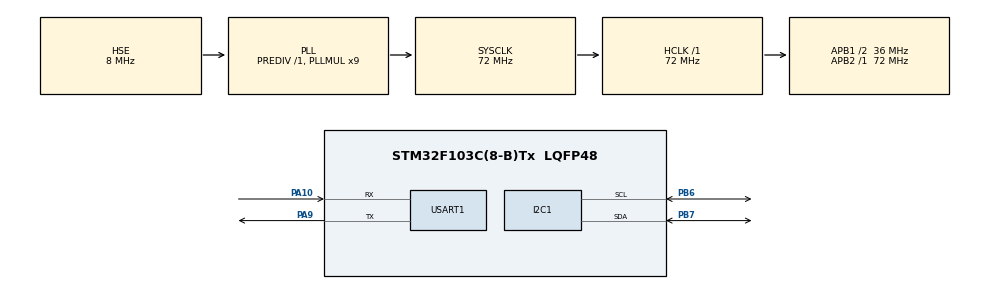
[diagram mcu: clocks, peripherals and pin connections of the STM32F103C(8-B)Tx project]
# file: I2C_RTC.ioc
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Mcu.Family=STM32F1
Mcu.Name=STM32F103C(8-B)Tx
Mcu.Package=LQFP48
NVIC.PriorityGroup=NVIC_PRIORITYGROUP_4
PA10.Mode=Asynchronous
PA10.Signal=USART1_RX
PA13.Mode=Serial_Wire
PA13.Signal=SYS_JTMS-SWDIO
PA14.Mode=Serial_Wire
PA14.Signal=SYS_JTCK-SWCLK
PA9.Mode=Asynchronous
PA9.Signal=USART1_TX
PB6.Mode=I2C
PB6.Signal=I2C1_SCL
PB7.Mode=I2C
PB7.Signal=I2C1_SDA
PD0-OSC_IN.Mode=HSE-External-Oscillator
PD0-OSC_IN.Signal=RCC_OSC_IN
PD1-OSC_OUT.Mode=HSE-External-Oscillator
PD1-OSC_OUT.Signal=RCC_OSC_OUT
ProjectManager.HeapSize=0x200
ProjectManager.StackSize=0x400
ProjectManager.TargetToolchain=STM32CubeIDE
RCC.AHBFreq_Value=72000000
RCC.APB1CLKDivider=RCC_HCLK_DIV2
RCC.APB1Freq_Value=36000000
RCC.APB1TimFreq_Value=72000000
RCC.APB2Freq_Value=72000000
RCC.APB2TimFreq_Value=72000000
RCC.HCLKFreq_Value=72000000
RCC.PLLMUL=RCC_PLL_MUL9
RCC.PLLSourceVirtual=RCC_PLLSOURCE_HSE
RCC.SYSCLKFreq_VALUE=72000000
RCC.SYSCLKSource=RCC_SYSCLKSOURCE_PLLCLK
RCC.USBFreq_Value=72000000
USART1.VirtualMode=VM_ASYNC
board=custom

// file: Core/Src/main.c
/* USER CODE BEGIN Header */
/**
 ******************************************************************************
 * @file           : main.c
 * @brief          : Main program body
 ******************************************************************************
 * @attention
 *
 * Copyright (c) 2024 STMicroelectronics.
 * All rights reserved.
 *
 * This software is licensed under terms that can be found in the LICENSE file
 * in the root directory of this software component.
 * If no LICENSE file comes with this software, it is provided AS-IS.
 *
 ******************************************************************************
 */
/* USER CODE END Header */
#include "main.h"
#include "HW_interface.h"

I2C_HandleTypeDef hi2c1;

UART_HandleTypeDef huart1;

void SystemClock_Config(void);
static void MX_GPIO_Init(void);
static void MX_I2C1_Init(void);
static void MX_USART1_UART_Init(void);

/* USER CODE BEGIN 0 */

uint8_t info[50];
ds1307_t RTC1 = {
	.hour= 2, .min=17, .sec= 9, .day=1, .date=1, .month=1, .year=2000,
	.HW_Interface.write = I2c_write,
	.HW_Interface.write = I2c_read
};

/* USER CODE END 0 */

int main(void) {

	/* MCU Configuration--------------------------------------------------------*/

	/* Reset of all peripherals, Initializes the Flash interface and the Systick. */
	HAL_Init();

	/* Configure the system clock */
	SystemClock_Config();

	/* Initialize all configured peripherals */
	MX_GPIO_Init();
	MX_I2C1_Init();
	MX_USART1_UART_Init();
	/* USER CODE BEGIN 2 */
	HAL_UART_Transmit(&huart1,"in \n",strlen("in \n\r"),100);
		if(DS1307_INIT(&RTC1)== DS1307_OK) {
			HAL_UART_Transmit(&huart1,"ok its done \n\r",strlen("ok its done\n"),100);
			DS1307_Set(&RTC1);
		} else{
			HAL_UART_Transmit(&huart1,"ok its not done \n\r",strlen("ok its not done\n"),100);
		}
	/* USER CODE END 2 */

	/* Infinite loop */
	/* USER CODE BEGIN WHILE */
	while (1) {
		if(DS1307_Read(&RTC1)== DS1307_OK ){
			uint8_t stat[15]="Clock: OK  ";
			HAL_UART_Transmit(&huart1, stat, strlen(stat), 100);
			sprintf(info, "%02d:%02d:%02d Day %02d %02d/%02d/%02d \n\r", RTC1.hour, RTC1.min, RTC1.sec, RTC1.day, RTC1.date, RTC1.month, RTC1.year);
			HAL_UART_Transmit(&huart1, info, strlen(info), 100);
			HAL_Delay(1000);
		} else{
			uint8_t error[] = "Clock: Error  \n\r";
			HAL_UART_Transmit(&huart1, error, strlen(error), 100);
		}

		/* USER CODE END WHILE */

	}
}

void SystemClock_Config(void) {
	RCC_OscInitTypeDef RCC_OscInitStruct = { 0 };
	RCC_ClkInitTypeDef RCC_ClkInitStruct = { 0 };

	/** Initializes the RCC Oscillators according to the specified parameters
	 * in the RCC_OscInitTypeDef structure.
	 */
	RCC_OscInitStruct.OscillatorType = RCC_OSCILLATORTYPE_HSE;
	RCC_OscInitStruct.HSEState = RCC_HSE_ON;
	RCC_OscInitStruct.HSEPredivValue = RCC_HSE_PREDIV_DIV1;
	RCC_OscInitStruct.HSIState = RCC_HSI_ON;
	RCC_OscInitStruct.PLL.PLLState = RCC_PLL_ON;
	RCC_OscInitStruct.PLL.PLLSource = RCC_PLLSOURCE_HSE;
	RCC_OscInitStruct.PLL.PLLMUL = RCC_PLL_MUL9;
	if (HAL_RCC_OscConfig(&RCC_OscInitStruct) != HAL_OK) {
		Error_Handler();
	}

	/** Initializes the CPU, AHB and APB buses clocks
	 */
	RCC_ClkInitStruct.ClockType = RCC_CLOCKTYPE_HCLK | RCC_CLOCKTYPE_SYSCLK
			| RCC_CLOCKTYPE_PCLK1 | RCC_CLOCKTYPE_PCLK2;
	RCC_ClkInitStruct.SYSCLKSource = RCC_SYSCLKSOURCE_PLLCLK;
	RCC_ClkInitStruct.AHBCLKDivider = RCC_SYSCLK_DIV1;
	RCC_ClkInitStruct.APB1CLKDivider = RCC_HCLK_DIV2;
	RCC_ClkInitStruct.APB2CLKDivider = RCC_HCLK_DIV1;

	if (HAL_RCC_ClockConfig(&RCC_ClkInitStruct, FLASH_LATENCY_2) != HAL_OK) {
		Error_Handler();
	}
}

static void MX_I2C1_Init(void) {

	hi2c1.Instance = I2C1;
	hi2c1.Init.ClockSpeed = 100000;
	hi2c1.Init.DutyCycle = I2C_DUTYCYCLE_2;
	hi2c1.Init.OwnAddress1 = 0;
	hi2c1.Init.AddressingMode = I2C_ADDRESSINGMODE_7BIT;
	hi2c1.Init.DualAddressMode = I2C_DUALADDRESS_DISABLE;
	hi2c1.Init.OwnAddress2 = 0;
	hi2c1.Init.GeneralCallMode = I2C_GENERALCALL_DISABLE;
	hi2c1.Init.NoStretchMode = I2C_NOSTRETCH_DISABLE;
	if (HAL_I2C_Init(&hi2c1) != HAL_OK) {
		Error_Handler();
	}

}

static void MX_USART1_UART_Init(void) {

	huart1.Instance = USART1;
	huart1.Init.BaudRate = 115200;
	huart1.Init.WordLength = UART_WORDLENGTH_8B;
	huart1.Init.StopBits = UART_STOPBITS_1;
	huart1.Init.Parity = UART_PARITY_NONE;
	huart1.Init.Mode = UART_MODE_TX_RX;
	huart1.Init.HwFlowCtl = UART_HWCONTROL_NONE;
	huart1.Init.OverSampling = UART_OVERSAMPLING_16;
	if (HAL_UART_Init(&huart1) != HAL_OK) {
		Error_Handler();
	}

}

static void MX_GPIO_Init(void) {

	/* GPIO Ports Clock Enable */
	__HAL_RCC_GPIOD_CLK_ENABLE();
	__HAL_RCC_GPIOA_CLK_ENABLE();
	__HAL_RCC_GPIOB_CLK_ENABLE();

}

void Error_Handler(void) {
	__disable_irq();
	while (1) {
	}
}
